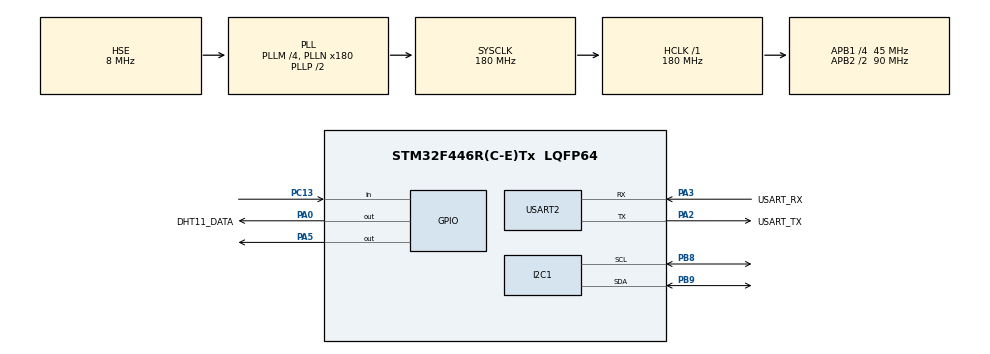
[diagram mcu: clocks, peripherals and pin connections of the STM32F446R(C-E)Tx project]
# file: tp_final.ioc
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Mcu.Family=STM32F4
Mcu.Name=STM32F446R(C-E)Tx
Mcu.Package=LQFP64
NVIC.PriorityGroup=NVIC_PRIORITYGROUP_0
PA0-WKUP.GPIO_Label=DHT11_DATA
PA0-WKUP.Signal=GPIO_Output
PA13.GPIO_Label=TMS
PA13.Signal=SYS_JTMS-SWDIO
PA14.GPIO_Label=TCK
PA14.Signal=SYS_JTCK-SWCLK
PA2.GPIO_Label=USART_TX
PA2.Mode=Asynchronous
PA2.Signal=USART2_TX
PA3.GPIO_Label=USART_RX
PA3.Mode=Asynchronous
PA3.Signal=USART2_RX
PA5.Signal=GPIO_Output
PB3.GPIO_Label=SWO
PB3.Signal=SYS_JTDO-SWO
PB8.Mode=I2C
PB8.Signal=I2C1_SCL
PB9.Mode=I2C
PB9.Signal=I2C1_SDA
PC13.Signal=GPIO_Input
PC14-OSC32_IN.Signal=RCC_OSC32_IN
PC15-OSC32_OUT.Signal=RCC_OSC32_OUT
PH0-OSC_IN.Mode=HSE-External-Clock-Source
PH0-OSC_IN.Signal=RCC_OSC_IN
PH1-OSC_OUT.Mode=HSE-External-Clock-Source
PH1-OSC_OUT.Signal=RCC_OSC_OUT
ProjectManager.HeapSize=0x200
ProjectManager.StackSize=0x400
ProjectManager.TargetToolchain=STM32CubeIDE
RCC.AHBFreq_Value=180000000
RCC.APB1CLKDivider=RCC_HCLK_DIV4
RCC.APB1Freq_Value=45000000
RCC.APB1TimFreq_Value=90000000
RCC.APB2CLKDivider=RCC_HCLK_DIV2
RCC.APB2Freq_Value=90000000
RCC.APB2TimFreq_Value=180000000
RCC.CortexFreq_Value=180000000
RCC.FLatency-AdvancedSettings=FLASH_LATENCY_5
RCC.HCLKFreq_Value=180000000
RCC.HSE_VALUE=8000000
RCC.HSI_VALUE=16000000
RCC.LSE_VALUE=32768
RCC.PLLM=4
RCC.PLLN=180
RCC.PLLSourceVirtual=RCC_PLLSOURCE_HSE
RCC.SYSCLKFreq_VALUE=180000000
RCC.SYSCLKSource=RCC_SYSCLKSOURCE_PLLCLK
RCC.USBFreq_Value=180000000
RCC.VCOOutputFreq_Value=360000000
USART2.VirtualMode=VM_ASYNC
board=NUCLEO-F446RE

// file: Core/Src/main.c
/* USER CODE BEGIN Header */
/**
 * *****************************************************************************
 * @file    main.c
 * @brief   Lógica principal — Estación de Monitoreo Ambiental.
 *
 * Contiene el bucle principal (while(1)) y la MEF que controla el ciclo
 * de lectura del sensor DHT11, visualización en LCD 16x2 y reporte UART.
 *
 * Plataforma: NUCLEO-STM32F446RE
 * Proyecto:   PdM + PCSE — CESE FIUBA 2026
 ******************************************************************************
 */
/* USER CODE END Header */

#include "main.h"

I2C_HandleTypeDef hi2c1;

UART_HandleTypeDef huart2;

/* USER CODE BEGIN PV */
static estado_mef_t estadoActual;
static delay_t      delayLectura;
static dht11_data_t datosAmbientales;
static char         lcdBuffer[17];  /* 16 caracteres + '\0' */
/* USER CODE END PV */

void SystemClock_Config(void);
static void MX_GPIO_Init(void);
static void MX_I2C1_Init(void);
static void MX_USART2_UART_Init(void);

/* USER CODE BEGIN 0 */

/**
 * @brief  Inicializa la MEF en ESTADO_IDLE y configura el delay de lectura.
 */
void MEF_Init(void)
{
    estadoActual = ESTADO_IDLE;
    delayInit(&delayLectura, PERIODO_LECTURA_MS);
}

/**
 * @brief  Actualiza la MEF. Llamar en cada iteración del while(1).
 *
 *   IDLE     ──(delay expirado) 	-> LEER
 *   LEER     ──(lectura OK)		-> MOSTRAR
 *   LEER     ──(lectura FALLO) 	-> IDLE
 *   MOSTRAR  ──(inmediato) 		-> REPORTAR
 *   REPORTAR ──(inmediato)			-> IDLE (reinicia delay)
 */
void MEF_Update(void)
{
    switch (estadoActual)
    {
        /* ── ESTADO_IDLE ─────────────────────────────────────────────── */
        case ESTADO_IDLE:
            if (delayRead(&delayLectura))
            {
                estadoActual = ESTADO_LEER;
            }
            break;

        /* ── ESTADO_LEER ─────────────────────────────────────────────── */
        case ESTADO_LEER:
            if (DHT11_Read(&datosAmbientales))
            {
                estadoActual = ESTADO_MOSTRAR;
            }
            else
            {
                /* Sensor no responde → reintento en el próximo ciclo */
                estadoActual = ESTADO_IDLE;
            }
            break;

        /* ── ESTADO_MOSTRAR ──────────────────────────────────────────── */
        case ESTADO_MOSTRAR:
            /* Línea 1: Temperatura */
            LCD_SetCursor(0, 0);
            snprintf(lcdBuffer, sizeof(lcdBuffer), "Temp: %.1fC     ",
                     datosAmbientales.temperatura);
            LCD_Print(lcdBuffer);

            /* Línea 2: Humedad */
            LCD_SetCursor(1, 0);
            snprintf(lcdBuffer, sizeof(lcdBuffer), "Hum:  %.1f%%    ",
                     datosAmbientales.humedad);
            LCD_Print(lcdBuffer);

            estadoActual = ESTADO_REPORTAR;
            break;

        /* ── ESTADO_REPORTAR ─────────────────────────────────────────── */
        case ESTADO_REPORTAR:
            UART_SendData(datosAmbientales.temperatura,
                          datosAmbientales.humedad);

            /* Reiniciar delay y volver a IDLE */
            delayInit(&delayLectura, PERIODO_LECTURA_MS);
            estadoActual = ESTADO_IDLE;
            break;

        /* ── Default ─────────────────────────────────────────────────── */
        default:
            MEF_Init();
            break;
    }
}

/* USER CODE END 0 */

int main(void)
{

  /* MCU Configuration--------------------------------------------------------*/

  /* Reset of all peripherals, Initializes the Flash interface and the Systick. */
  HAL_Init();

  /* Configure the system clock */
  SystemClock_Config();

  /* Initialize all configured peripherals */
  MX_GPIO_Init();
  MX_I2C1_Init();
  MX_USART2_UART_Init();
  /* USER CODE BEGIN 2 */

  /* ── Inicialización de drivers ── */
  if (!DHT11_Init())
  {
      Error_Handler();
  }

  LCD_Init();     /* port.c accede al extern hi2c1 */
  UART_Init();    /* port.c accede al extern huart2 */

  /* ── Mensaje de bienvenida en LCD ── */
  LCD_Clear();
  LCD_SetCursor(0, 0);
  LCD_Print("Est. Ambiental");
  LCD_SetCursor(1, 0);
  LCD_Print("Iniciando...");

  /* ── Mensaje de bienvenida por UART ── */
  UART_SendString("=================================\r\n");
  UART_SendString(" Estacion de Monitoreo Ambiental\r\n");
  UART_SendString(" NUCLEO-STM32F446RE\r\n");
  UART_SendString("=================================\r\n\r\n");

  HAL_Delay(2000);

  /* ── Inicialización de la MEF ── */
  MEF_Init();
  LCD_Clear();

  /* USER CODE END 2 */

  /* Infinite loop */
  /* USER CODE BEGIN WHILE */
  while (1)
  {
      MEF_Update();
    /* USER CODE END WHILE */

  }
}

void SystemClock_Config(void)
{
  RCC_OscInitTypeDef RCC_OscInitStruct = {0};
  RCC_ClkInitTypeDef RCC_ClkInitStruct = {0};

  /** Configure the main internal regulator output voltage
  */
  __HAL_RCC_PWR_CLK_ENABLE();
  __HAL_PWR_VOLTAGESCALING_CONFIG(PWR_REGULATOR_VOLTAGE_SCALE1);

  /** Initializes the RCC Oscillators according to the specified parameters
  * in the RCC_OscInitTypeDef structure.
  */
  RCC_OscInitStruct.OscillatorType = RCC_OSCILLATORTYPE_HSE;
  RCC_OscInitStruct.HSEState = RCC_HSE_BYPASS;
  RCC_OscInitStruct.PLL.PLLState = RCC_PLL_ON;
  RCC_OscInitStruct.PLL.PLLSource = RCC_PLLSOURCE_HSE;
  RCC_OscInitStruct.PLL.PLLM = 4;
  RCC_OscInitStruct.PLL.PLLN = 180;
  RCC_OscInitStruct.PLL.PLLP = RCC_PLLP_DIV2;
  RCC_OscInitStruct.PLL.PLLQ = 2;
  RCC_OscInitStruct.PLL.PLLR = 2;
  if (HAL_RCC_OscConfig(&RCC_OscInitStruct) != HAL_OK)
  {
    Error_Handler();
  }

  /** Activate the Over-Drive mode
  */
  if (HAL_PWREx_EnableOverDrive() != HAL_OK)
  {
    Error_Handler();
  }

  /** Initializes the CPU, AHB and APB buses clocks
  */
  RCC_ClkInitStruct.ClockType = RCC_CLOCKTYPE_HCLK|RCC_CLOCKTYPE_SYSCLK
                              |RCC_CLOCKTYPE_PCLK1|RCC_CLOCKTYPE_PCLK2;
  RCC_ClkInitStruct.SYSCLKSource = RCC_SYSCLKSOURCE_PLLCLK;
  RCC_ClkInitStruct.AHBCLKDivider = RCC_SYSCLK_DIV1;
  RCC_ClkInitStruct.APB1CLKDivider = RCC_HCLK_DIV4;
  RCC_ClkInitStruct.APB2CLKDivider = RCC_HCLK_DIV2;

  if (HAL_RCC_ClockConfig(&RCC_ClkInitStruct, FLASH_LATENCY_5) != HAL_OK)
  {
    Error_Handler();
  }
}

static void MX_I2C1_Init(void)
{

  hi2c1.Instance = I2C1;
  hi2c1.Init.ClockSpeed = 100000;
  hi2c1.Init.DutyCycle = I2C_DUTYCYCLE_2;
  hi2c1.Init.OwnAddress1 = 0;
  hi2c1.Init.AddressingMode = I2C_ADDRESSINGMODE_7BIT;
  hi2c1.Init.DualAddressMode = I2C_DUALADDRESS_DISABLE;
  hi2c1.Init.OwnAddress2 = 0;
  hi2c1.Init.GeneralCallMode = I2C_GENERALCALL_DISABLE;
  hi2c1.Init.NoStretchMode = I2C_NOSTRETCH_DISABLE;
  if (HAL_I2C_Init(&hi2c1) != HAL_OK)
  {
    Error_Handler();
  }

}

static void MX_USART2_UART_Init(void)
{

  huart2.Instance = USART2;
  huart2.Init.BaudRate = 115200;
  huart2.Init.WordLength = UART_WORDLENGTH_8B;
  huart2.Init.StopBits = UART_STOPBITS_1;
  huart2.Init.Parity = UART_PARITY_NONE;
  huart2.Init.Mode = UART_MODE_TX_RX;
  huart2.Init.HwFlowCtl = UART_HWCONTROL_NONE;
  huart2.Init.OverSampling = UART_OVERSAMPLING_16;
  if (HAL_UART_Init(&huart2) != HAL_OK)
  {
    Error_Handler();
  }

}

static void MX_GPIO_Init(void)
{
  GPIO_InitTypeDef GPIO_InitStruct = {0};

  /* GPIO Ports Clock Enable */
  __HAL_RCC_GPIOC_CLK_ENABLE();
  __HAL_RCC_GPIOH_CLK_ENABLE();
  __HAL_RCC_GPIOA_CLK_ENABLE();
  __HAL_RCC_GPIOB_CLK_ENABLE();

  /*Configure GPIO pin Output Level */
  HAL_GPIO_WritePin(DHT11_DATA_GPIO_Port, DHT11_DATA_Pin, GPIO_PIN_RESET);

  /*Configure GPIO pin : DHT11_DATA_Pin */
  GPIO_InitStruct.Pin = DHT11_DATA_Pin;
  GPIO_InitStruct.Mode = GPIO_MODE_OUTPUT_OD;
  GPIO_InitStruct.Pull = GPIO_NOPULL;
  GPIO_InitStruct.Speed = GPIO_SPEED_FREQ_LOW;
  HAL_GPIO_Init(DHT11_DATA_GPIO_Port, &GPIO_InitStruct);

}

void Error_Handler(void)
{
  /* USER CODE BEGIN Error_Handler_Debug */
  __disable_irq();
  while (1)
  {
      /* Error irrecuperable */
  }
  /* USER CODE END Error_Handler_Debug */
}

#ifdef  USE_FULL_ASSERT
/**
  * @brief  Reports the name of the source file and the source line number
  *         where the assert_param error has occurred.
  * @param  file: pointer to the source file name
  * @param  line: assert_param error line source number
  * @retval None
  */
void assert_failed(uint8_t *file, uint32_t line)
{
  /* USER CODE BEGIN 6 */
  (void)file;
  (void)line;
  /* USER CODE END 6 */
}
#endif /* USE_FULL_ASSERT */
